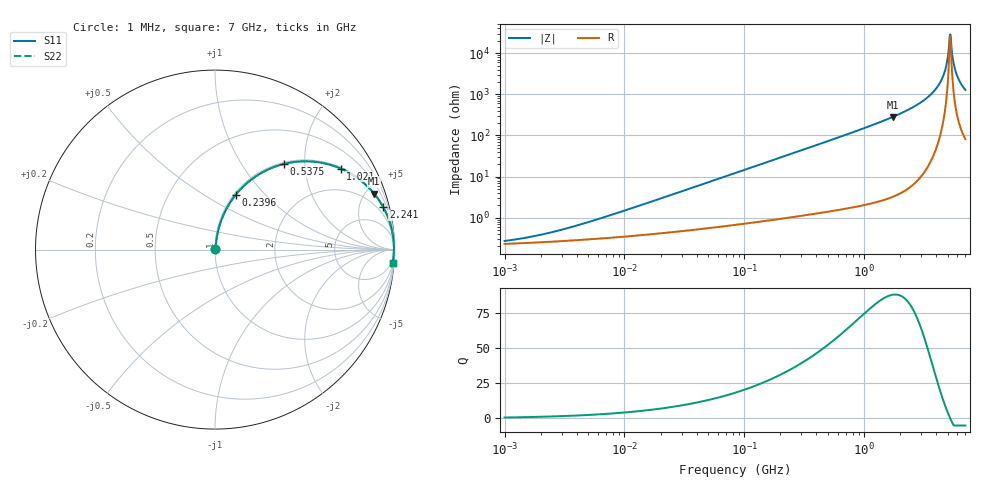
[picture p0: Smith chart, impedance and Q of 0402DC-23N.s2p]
# MHz  S  MA  R  50
!Freq  MagS11  AngS11  MagS21  AngS21  MagS12  AngS12  MagS22  AngS22
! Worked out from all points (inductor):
!   801 points, 1 MHz to 7 GHz, reference 50 ohm
!   read as one part in series: L = 23 nH near 6.564 MHz
!   highest Q = 87.7 at 1.737 GHz (marker M1), where L = 25.9 nH
!   self-resonance near 5.198 GHz
!   S11 on the Smith chart (normalised r, x): 1 MHz: 1.00, +0.00; 239.6 MHz: 1.02, +0.69; 537.5 MHz: 1.03, +1.57; 1.021 GHz: 1.04, +3.07; 2.241 GHz: 1.09, +7.94; 7 GHz: 3, -25
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1  0.00271 32.1  0.9977 -0.1  0.9977 -0.1  0.00271 32.1
4.406943  0.006973 65.2  0.9971 -0.4  0.9971 -0.4  0.006973 65.2
19.20737  0.02793 80.0  0.9955 -1.6  0.9955 -1.6  0.02793 80.0
83.71406  0.1195 80.0  0.9863 -6.9  0.9863 -6.9  0.1195 80.0
239.5869  0.325 69.4  0.9363 -19.0  0.9363 -19.0  0.325 69.4
368.9231  0.468 60.8  0.8732 -27.9  0.8732 -27.9  0.468 60.8
537.4941  0.6121 51.2  0.7796 -37.7  0.7796 -37.7  0.6121 51.2
1021.362  0.8328 32.9  0.5426 -56.4  0.5426 -56.4  0.8328 32.9
1607.927  0.9282 21.2  0.3616 -68.1  0.3616 -68.1  0.9282 21.2
1737.462  0.9392 19.4  0.3327 -69.9  0.3327 -69.9  0.9392 19.4
2241.177  0.967 14.1  0.2437 -75.2  0.2437 -75.2  0.967 14.1
3229.29  0.989 7.5  0.1311 -81.4  0.1311 -81.4  0.989 7.5
4119.656  0.9954 3.6  0.06343 -84.1  0.06343 -84.1  0.9954 3.6
4653.052  0.9967 1.8  0.03095 -83.0  0.03095 -83.0  0.9967 1.8
4863.691  0.9969 1.1  0.01932 -80.1  0.01932 -80.1  0.9969 1.1
5083.864  0.9969 0.4  0.008022 -66.9  0.008022 -66.9  0.9969 0.4
5197.66  0.9968 0.1  0.003543 -26.0  0.003543 -26.0  0.9968 0.1
5373.149  0.9967 -0.4  0.007925 64.8  0.007925 64.8  0.9967 -0.4
5678.895  0.9962 -1.2  0.02209 79.4  0.02209 79.4  0.9962 -1.2
5935.972  0.9956 -1.9  0.03373 81.6  0.03373 81.6  0.9956 -1.9
6414.175  0.9942 -3.1  0.0543 82.4  0.0543 82.4  0.9942 -3.1
7000  0.992 -4.5  0.07781 81.9  0.07781 81.9  0.992 -4.5
